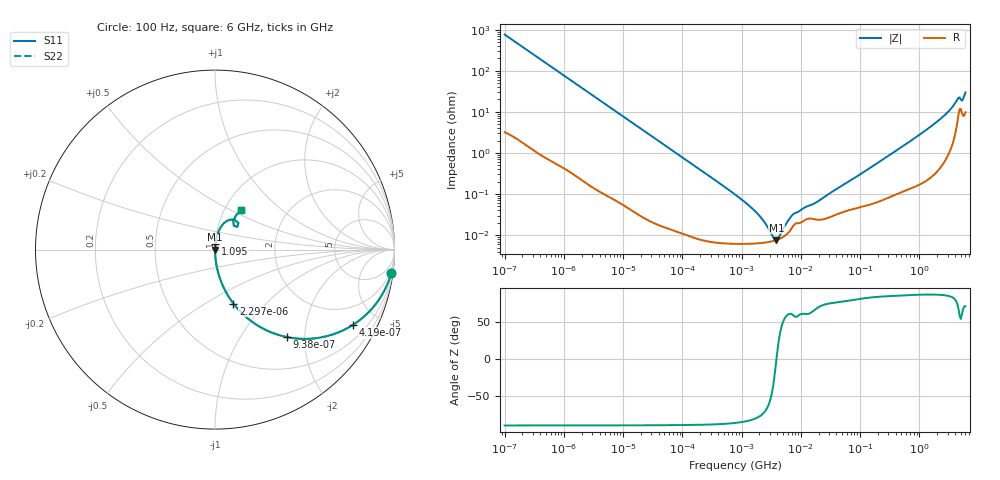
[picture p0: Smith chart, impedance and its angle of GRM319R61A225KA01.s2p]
!Murata Part Number: GRM319R61A225KA01
!These Parameters are Measured in Series Mode Connection
!Data Generated on Mar 30, 2021
!  o--ll--o
!Port1  Port2
!  o------o
!Operation Temp=25[degC], DC Bias Voltage=0[V]
!Freq. Start=100[Hz] Stop=6[GHz] 401[Steps]
# Hz S RI R 50
!Freq.(Hz) S11(Real) S11(Imag) S21(Real) S21(Imag) S12(Real) S12(Imag) S22(Real) S22(Imag)
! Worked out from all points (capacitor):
!   401 points, 100 Hz to 6 GHz, reference 50 ohm
!   read as one part in series: C = 2.08 uF near 109 Hz
!   lowest |Z| = 7.63 mohm at 3.882 MHz (marker M1)
!   series resonance near 3.883 MHz, so ESL is about 810 pH
!   S11 on the Smith chart (normalised r, x): 100 Hz: 1, -15; 419 Hz: 1.02, -3.66; 938 Hz: 1.01, -1.64; 2.297 kHz: 1.00, -0.67; 1.095 GHz: 1.00, +0.06; 6 GHz: 1.20, +0.56
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100  0.9826 -0.1286  0.0174 0.1286  0.0174 0.1286  0.9826 -0.1286
224  0.9203 -0.2686  0.0797 0.2686  0.0797 0.2686  0.9203 -0.2686
419  0.7693 -0.419  0.2307 0.419  0.2307 0.419  0.7693 -0.419
938  0.4026 -0.4877  0.5974 0.4877  0.5974 0.4877  0.4026 -0.4877
2008  0.13 -0.3335  0.87 0.3335  0.87 0.3335  0.13 -0.3335
2297  0.1028 -0.3009  0.8972 0.3009  0.8972 0.3009  0.1028 -0.3009
7695  0.0107 -0.0996  0.9893 0.0996  0.9893 0.0996  0.0107 -0.0996
40335  0.000548 -0.0193  0.9995 0.0193  0.9995 0.0193  0.000548 -0.0193
774597  6.24e-05 -0.000977  0.9999 0.000977  0.9999 0.000977  6.24e-05 -0.000977
1658239  6.27e-05 -0.000389  0.9999 0.000389  0.9999 0.000389  6.27e-05 -0.000389
2268635  6.5e-05 -0.00023  0.9999 0.00023  0.9999 0.00023  6.5e-05 -0.00023
3245845  7.08e-05 -7.38e-05  0.9999 7.38e-05  0.9999 7.38e-05  7.08e-05 -7.38e-05
3882480  7.63e-05 -1e-07  0.9999 1e-07  0.9999 1e-07  7.63e-05 -1e-07
4643984  8.5e-05 7.42e-05  0.9999 -7.42e-05  0.9999 -7.42e-05  8.5e-05 7.42e-05
7266822  0.000159 0.00027  0.9998 -0.00027  0.9998 -0.00027  0.000159 0.00027
1.555665e7  0.000251 0.000499  0.9997 -0.000499  0.9997 -0.000499  0.000251 0.000499
3.124326e8  0.000911 0.0088  0.9991 -0.0088  0.9991 -0.0088  0.000911 0.0088
1.094528e9  0.00271 0.03  0.9973 -0.03  0.9973 -0.03  0.00271 0.03
3.205649e9  0.021 0.1037  0.979 -0.1037  0.979 -0.1037  0.021 0.1037
4.385646e9  0.0828 0.1668  0.9172 -0.1668  0.9172 -0.1668  0.0828 0.1668
5.245841e9  0.1052 0.1327  0.8948 -0.1327  0.8948 -0.1327  0.1052 0.1327
6e9  0.1452 0.2194  0.8548 -0.2194  0.8548 -0.2194  0.1452 0.2194
